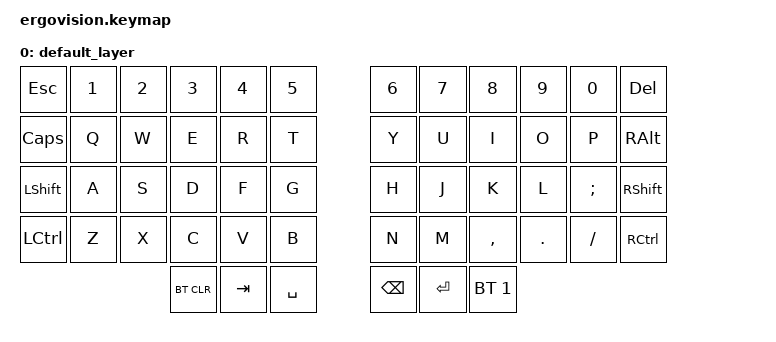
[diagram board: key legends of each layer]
/*
 * Copyright (c) 2020 ZMK Contributors
 *
 * SPDX-License-Identifier: MIT
 */
//zmk core
#include <behaviors.dtsi>
#include <dt-bindings/zmk/keys.h>
#include <dt-bindings/zmk/bt.h>
#include <dt-bindings/zmk/outputs.h>

//mouse specific
#include <dt-bindings/zmk/mouse.h>
#include <behaviors/mouse_keys.dtsi>
#include <behaviors/mouse_move.dtsi>

//key layout
/ {
    keymap {
        compatible = "zmk,keymap";

        default_layer {
            bindings = <
                &kp ESC      &kp N1     &kp N2     &kp N3     &kp N4     &kp N5                   &kp N6     &kp N7     &kp N8     &kp N9     &kp N0     &kp DELETE
                &kp CAPSLOCK &kp Q      &kp W      &kp E      &kp R      &kp T                    &kp Y      &kp U      &kp I      &kp O      &kp P      &kp RALT
                &kp LSHIFT   &kp A      &kp S      &kp D      &kp F      &kp G                    &kp H      &kp J      &kp K      &kp L      &kp SEMI   &kp RSHIFT
                &kp LCTRL    &kp Z      &kp X      &kp C      &kp V      &kp B                    &kp N      &kp M      &kp COMMA  &kp DOT    &kp SLASH  &kp RCTRL
                                                   &bt BT_CLR &kp TAB    &kp SPACE                &kp BKSP   &kp ENTER  &bt BT_SEL 1
            >;
        };
    };
};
